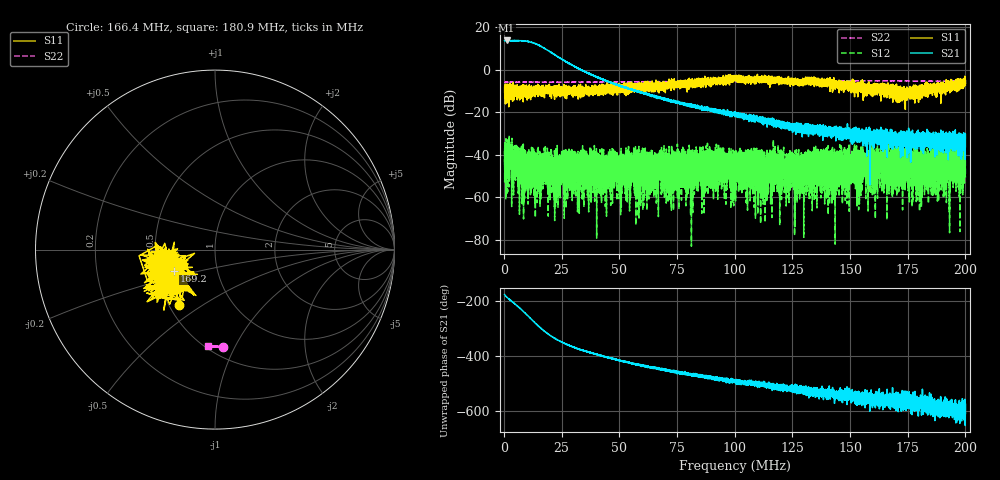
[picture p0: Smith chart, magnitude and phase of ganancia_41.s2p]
# Hz S DB R 50
! CMT, M5065, 19127446, 24.2.4/2
! Date: 10/29/2024 12:38:55 PM
! Data: Format (Calibration Info)
! Freq	S11:dB/Ang(F2)	S21:dB/Ang(F2)	S12:dB/Ang(F2)	S22:dB/Ang(F2)
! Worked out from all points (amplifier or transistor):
!   9000 points, 300 kHz to 200 MHz, reference 50 ohm
!   highest |S21| = 13.7 dB at 1.165 MHz (marker M1)
!   |S21| within 3 dB of that: start of sweep to 16.48 MHz
!   unconditionally stable (mu >= 1): start of sweep to end of sweep
!   at 33.59 MHz: K = 41.24, MAG = 1.6 dB, |S12| = -41.7 dB
!   at 100.2 MHz: K = 224.69, MAG = -17.7 dB, |S12| = -38.8 dB
!   at 200 MHz: K = 3362.11, MAG = -28.2 dB, |S12| = -50.7 dB
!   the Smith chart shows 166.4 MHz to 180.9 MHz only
!   S11 on the Smith chart (normalised r, x): 166.4 MHz: 0.57, -0.40; 169.2 MHz: 0.62, -0.16; 180.9 MHz: 0.55, -0.02
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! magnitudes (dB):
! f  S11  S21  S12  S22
! 300 kHz  -10.5  13.5  -44.8  -6.0
! 1.165 MHz  -13.4  13.7  -49.2  -6.0
! 9.354 MHz  -9.0  13.4  -50.1  -6.0
! 13.26 MHz  -8.4  12.3  -39.9  -6.0
! 21.98 MHz  -9.1  7.0  -49.0  -5.9
! 33.59 MHz  -10.0  -0.1  -41.7  -5.9
! 56.07 MHz  -8.8  -9.6  -41.7  -5.7
! 59 MHz  -7.6  -10.5  -43.7  -5.7
! 66.87 MHz  -8.0  -13.3  -44.2  -5.7
! 100.2 MHz  -4.2  -21.1  -38.8  -5.6
! 113 MHz  -4.8  -25.1  -56.1  -5.6
! 124.2 MHz  -7.2  -26.8  -42.1  -5.4
! 126.3 MHz  -5.3  -26.2  -45.0  -5.4
! 131.3 MHz  -3.8  -29.4  -46.6  -5.4
! 133.4 MHz  -4.1  -28.5  -49.7  -5.4
! 162.6 MHz  -9.8  -31.7  -49.5  -5.3
! 166.4 MHz  -8.7  -30.6  -37.9  -5.3
! 166.7 MHz  -8.3  -34.1  -53.9  -5.3
! 169.2 MHz  -11.8  -30.6  -39.8  -5.3
! 180.9 MHz  -10.6  -29.9  -59.1  -5.4
! 198.8 MHz  -4.7  -36.0  -44.1  -5.5
! 200 MHz  -7.3  -30.5  -50.7  -5.5
